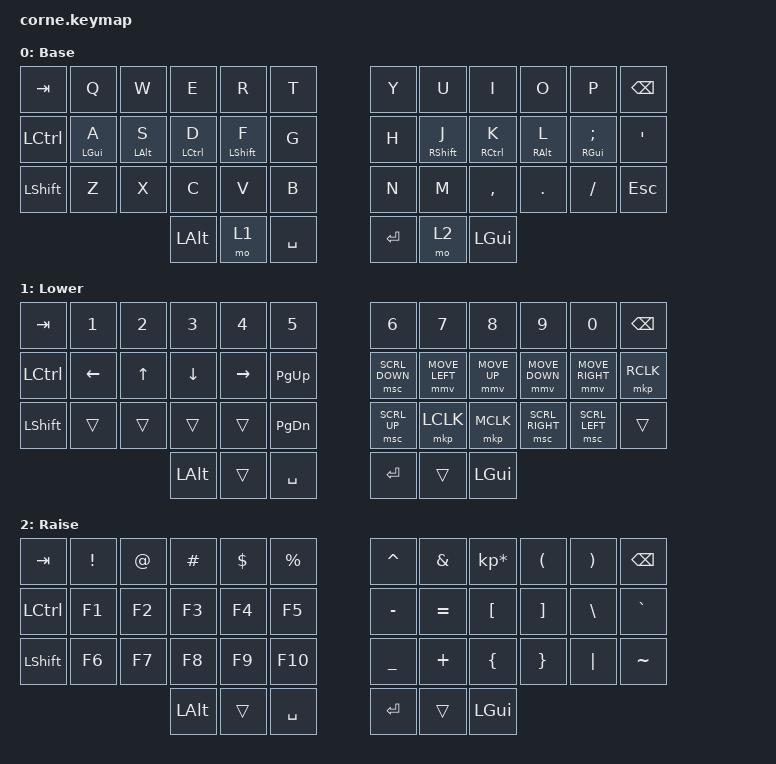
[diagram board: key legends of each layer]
/*
 * Copyright (c) 2020 The ZMK Contributors
 *
 * SPDX-License-Identifier: MIT
 */

#define ZMK_POINTING_DEFAULT_MOVE_VAL 1500  // default: 600
#define ZMK_POINTING_DEFAULT_SCRL_VAL 15    // default: 10

#include <behaviors.dtsi>
#include <dt-bindings/zmk/bt.h>
#include <dt-bindings/zmk/keys.h>
#include <dt-bindings/zmk/pointing.h>

/ {
    behaviors {
        hml: home_row_mod_left {
            compatible = "zmk,behavior-hold-tap";
            #binding-cells = <2>;
            flavor = "tap-preferred";
            tapping-term-ms = <280>;
            quick-tap-ms = <175>;
            require-prior-idle-ms = <200>;
            bindings = <&kp>, <&kp>;
            hold-trigger-on-release;
            // right hand + thumbs
            hold-trigger-key-positions = <6 7 8 9 10 11 18 19 20 21 22 23 30 31 32 33 34 35 36 37 38 39 40 41>;
        };

        hmr: home_row_mod_right {
            compatible = "zmk,behavior-hold-tap";
            #binding-cells = <2>;
            flavor = "tap-preferred";
            tapping-term-ms = <280>;
            quick-tap-ms = <175>;
            require-prior-idle-ms = <200>;
            bindings = <&kp>, <&kp>;
            hold-trigger-on-release;
            // left hand + thumbs
            hold-trigger-key-positions = <0 1 2 3 4 5 12 13 14 15 16 17 24 25 26 27 28 29 36 37 38 39 40 41>;
        };
    };

    combos {
        compatible = "zmk,combos";

        bootloader {
            bindings = <&bootloader>;
            key-positions = <39 40 41 35 11 10 22 34 23>;
        };

        BTS0 {
            bindings = <&bt BT_SEL 0>;
            key-positions = <11 23 35 1 12 24 39>;
        };

        BTS1 {
            bindings = <&bt BT_SEL 1>;
            key-positions = <11 23 35 12 39 2 24>;
        };

        BTS2 {
            bindings = <&bt BT_SEL 2>;
            key-positions = <11 23 35 12 24 39 3>;
        };

        BTS3 {
            bindings = <&bt BT_SEL 3>;
            key-positions = <11 23 35 12 24 39 4>;
        };

        BTS4 {
            bindings = <&bt BT_SEL 4>;
            key-positions = <11 23 35 12 24 39 5>;
        };

        BTCLR {
            bindings = <&bt BT_CLR>;
            key-positions = <12 24 11 23 35 39 38 0>;
        };

        bootloader2 {
            bindings = <&bootloader>;
            key-positions = <0 1 12 13 24 25 38 36 37>;
        };
    };

    keymap {
        compatible = "zmk,keymap";

        default_layer {
            // -----------------------------------------------------------------------------------------
            // |  TAB |  Q  |  W  |  E  |  R  |  T  |   |  Y  |  U   |  I  |  O  |  P  | BKSP |
            // | CTRL | A/G | S/A | D/C | F/S |  G  |   |  H  | J/S  | K/C | L/A | ;/G |  '   |   (home-row mods: G=Cmd A=Alt C=Ctrl S=Shift)
            // | SHFT |  Z  |  X  |  C  |  V  |  B  |   |  N  |  M   |  ,  |  .  |  /  | ESC  |
            //                    | GUI | LWR | SPC |   | ENT | RSE  | ALT |

            display-name = "Base";
            bindings = <
&kp TAB    &kp Q  &kp W  &kp E     &kp R  &kp T        &kp Y    &kp U  &kp I      &kp O    &kp P     &kp BSPC
&kp LCTRL  &hml LGUI A  &hml LALT S  &hml LCTRL D  &hml LSHFT F  &kp G        &kp H    &hmr RSHFT J  &hmr RCTRL K  &hmr RALT L  &hmr RGUI SEMI  &kp SQT
&kp LSHFT  &kp Z  &kp X  &kp C     &kp V  &kp B        &kp N    &kp M  &kp COMMA  &kp DOT  &kp FSLH  &kp ESC
                         &kp LALT  &mo 1  &kp SPACE    &kp RET  &mo 2  &kp LGUI
            >;
        };

        lower_layer {
            // -----------------------------------------------------------------------------------------
            // |  TAB |  1  |  2  |  3  |  4  |  5  |   |  6  |  7  |  8  |  9  |  0  | BKSP |
            // | BTCLR| BT1 | BT2 | BT3 | BT4 | BT5 |   | LFT | DWN |  UP | RGT |     |      |
            // | SHFT |     |     |     |     |     |   |     |     |     |     |     |      |
            //                    | GUI |     | SPC |   | ENT |     | ALT |

            display-name = "Lower";
            bindings = <
&kp TAB    &kp N1    &kp N2  &kp N3    &kp N4     &kp N5           &kp N6          &kp N7          &kp N8        &kp N9           &kp N0           &kp BSPC
&kp LCTRL  &kp LEFT  &kp UP  &kp DOWN  &kp RIGHT  &kp PAGE_UP      &msc SCRL_DOWN  &mmv MOVE_LEFT  &mmv MOVE_UP  &mmv MOVE_DOWN   &mmv MOVE_RIGHT  &mkp RCLK
&kp LSHFT  &trans    &trans  &trans    &trans     &kp PAGE_DOWN    &msc SCRL_UP    &mkp LCLK       &mkp MCLK     &msc SCRL_RIGHT  &msc SCRL_LEFT   &trans
                             &kp LALT  &trans     &kp SPACE        &kp RET         &trans          &kp LGUI
            >;
        };

        raise_layer {
            // -----------------------------------------------------------------------------------------
            // |  TAB |  !  |  @  |  #  |  $  |  %  |   |  ^  |  &  |  *  |  (  |  )  | BKSP |
            // | CTRL |     |     |     |     |     |   |  -  |  =  |  [  |  ]  |  \  |  `   |
            // | SHFT |     |     |     |     |     |   |  _  |  +  |  {  |  }  | "|" |  ~   |
            //                    | GUI |     | SPC |   | ENT |     | ALT |

            display-name = "Raise";
            bindings = <
&kp TAB    &kp EXCL  &kp AT  &kp HASH  &kp DLLR  &kp PRCNT    &kp CARET  &kp AMPS   &kp KP_MULTIPLY  &kp LPAR  &kp RPAR  &kp BSPC
&kp LCTRL  &kp F1    &kp F2  &kp F3    &kp F4    &kp F5       &kp MINUS  &kp EQUAL  &kp LBKT         &kp RBKT  &kp BSLH  &kp GRAVE
&kp LSHFT  &kp F6    &kp F7  &kp F8    &kp F9    &kp F10      &kp UNDER  &kp PLUS   &kp LBRC         &kp RBRC  &kp PIPE  &kp TILDE
                             &kp LALT  &trans    &kp SPACE    &kp RET    &trans     &kp LGUI
            >;
        };
    };
};
